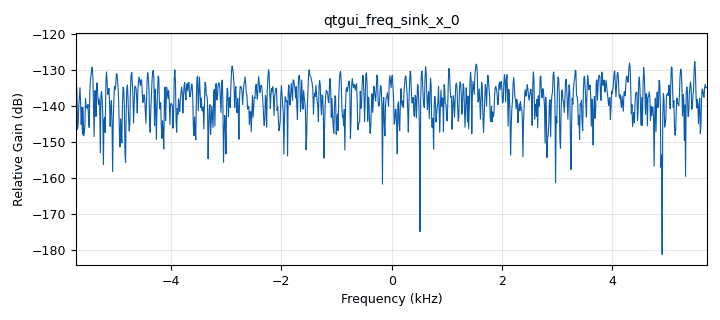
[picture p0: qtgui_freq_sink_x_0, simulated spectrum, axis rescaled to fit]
options:
  parameters:
    author: Madeline Tippett
    generate_options: qt_gui
    id: channel_model_gaussian
    output_language: python
    title: Gaussian Channel
  states: {}

blocks:
- name: amp
  id: variable_qtgui_range
  parameters:
    label: amp
    start: '0'
    step: '0.000001'
    stop: '0.001'
    value: '0.00001'
  states: {}
- name: samp_rate
  id: variable
  parameters:
    value: '11440'
  states: {}
- name: analog_noise_source_x_0
  id: analog_noise_source_x
  parameters:
    amp: amp
    noise_type: analog.GR_GAUSSIAN
    seed: '0'
    type: complex
  states: {}
- name: blocks_throttle_0
  id: blocks_throttle
  parameters:
    samples_per_second: samp_rate
    type: complex
  states: {}
- name: qtgui_auto_correlator_sink_0
  id: qtgui_auto_correlator_sink
  parameters:
    fac_decimation: '10'
    fac_size: '512'
    sampRate: samp_rate
  states: {}
- name: qtgui_freq_sink_x_0
  id: qtgui_freq_sink_x
  parameters:
    bw: samp_rate
    ctrlpanel: 'True'
    fc: '0'
    fftsize: '1024'
    type: complex
  states: {}

connections:
- [analog_noise_source_x_0, '0', blocks_throttle_0, '0']
- [blocks_throttle_0, '0', qtgui_auto_correlator_sink_0, '0']
- [blocks_throttle_0, '0', qtgui_freq_sink_x_0, '0']

metadata:
  file_format: 1
